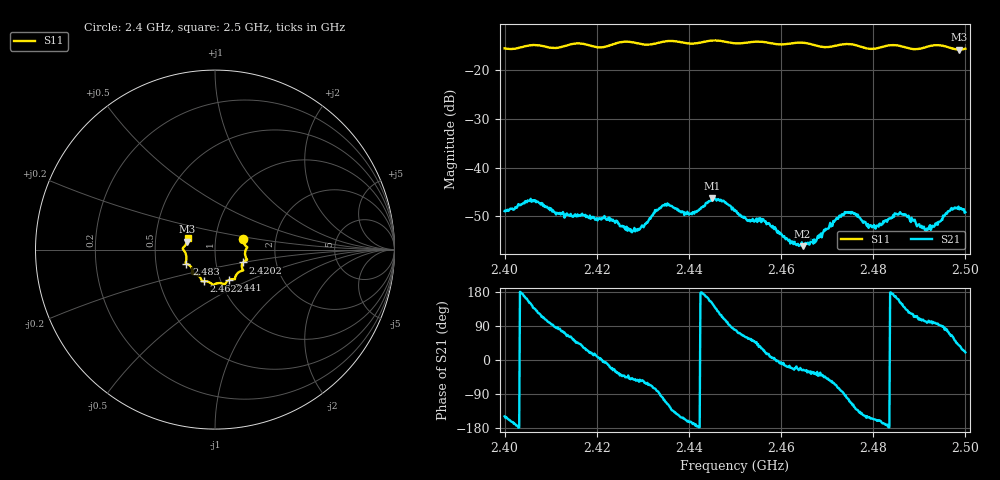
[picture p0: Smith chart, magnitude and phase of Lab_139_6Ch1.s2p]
# Hz S RI R
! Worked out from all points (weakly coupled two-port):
!   601 points, 2.4 GHz to 2.5 GHz, reference 50 ohm
!   highest |S21| = -46.30 dB at 2.445 GHz (marker M1); lowest = -56.1 dB at 2.4647 GHz (marker M2)
!   lowest |S11| = -15.8 dB at 2.4987 GHz (marker M3), VSWR 1.39, Z = 36.4 + j3.33 ohm
!   |S11| at or under -10 dB: start of sweep to end of sweep
!   S12 and S22 are empty: the file has one direction only
!   S11 on the Smith chart (normalised r, x): 2.4 GHz: 1.36, +0.17; 2.4202 GHz: 1.35, -0.20; 2.441 GHz: 1.09, -0.39; 2.4622 GHz: 0.83, -0.30; 2.483 GHz: 0.72, -0.12; 2.5 GHz: 0.73, +0.09
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2.4e9  0.1557 0.0603  -0.00306 -0.00186  0 0  0 0
2.406167e9  0.1798 0.0135  -0.00336 0.00302  0 0  0 0
2.411333e9  0.1672 -0.0231  0.000347 0.00343  0 0  0 0
2.416667e9  0.1774 -0.0582  0.00257 0.00208  0 0  0 0
2.420167e9  0.1556 -0.0716  0.00284 0.000413  0 0  0 0
2.428e9  0.1512 -0.1176  0.0014 -0.00179  0 0  0 0
2.433333e9  0.1128 -0.1528  0.000437 -0.00368  0 0  0 0
2.441e9  0.0765 -0.1704  -0.00337 -0.000803  0 0  0 0
2.445e9  0.0546 -0.1931  -0.00421 0.0024  0 0  0 0
2.45e9  0.0262 -0.1862  0.000646 0.00362  0 0  0 0
2.4565e9  -0.016 -0.1926  0.00262 0.000979  0 0  0 0
2.462167e9  -0.0633 -0.1763  0.0016 -0.000601  0 0  0 0
2.464667e9  -0.0738 -0.1757  0.0014 -0.000706  0 0  0 0
2.466667e9  -0.0763 -0.1669  0.00148 -0.000899  0 0  0 0
2.474333e9  -0.1252 -0.1359  -0.000597 -0.00343  0 0  0 0
2.4795e9  -0.1326 -0.0977  -0.00232 -0.00109  0 0  0 0
2.483e9  -0.1593 -0.078  -0.00274 -0.00047  0 0  0 0
2.483333e9  -0.1609 -0.0775  -0.00296 -0.000148  0 0  0 0
2.486167e9  -0.162 -0.0665  -0.0028 0.00181  0 0  0 0
2.491667e9  -0.173 -0.00486  -0.000345 0.00235  0 0  0 0
2.498667e9  -0.1556 0.0445  0.00294 0.0023  0 0  0 0
2.5e9  -0.1529 0.0633  0.00327 0.00121  0 0  0 0
